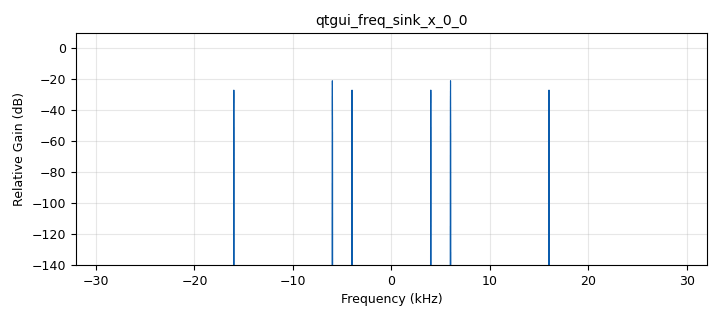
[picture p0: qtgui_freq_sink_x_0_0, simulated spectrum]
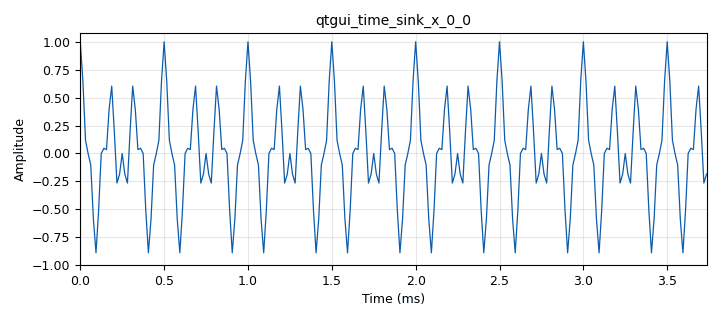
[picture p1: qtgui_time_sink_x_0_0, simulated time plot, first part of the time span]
options:
  parameters:
    author: ANDRES FLOREZ TARAZONA
    generate_options: qt_gui
    id: Practica1_parte3
    output_language: python
    title: Diezmado e Interpolado
  states: {}

blocks:
- name: N
  id: variable_qtgui_range
  parameters:
    label: multiplicador de samp_rate
    orient: Qt.Horizontal
    rangeType: int
    start: '1'
    step: '1'
    stop: '300'
    value: '2'
  states: {}
- name: samp_rate
  id: variable
  parameters:
    value: 32000*N
  states: {}
- name: analog_sig_source_x_0_0
  id: analog_sig_source_x
  parameters:
    amp: '1'
    freq: '6000'
    offset: '0'
    phase: '0'
    samp_rate: samp_rate
    type: float
    waveform: analog.GR_COS_WAVE
  states: {}
- name: analog_sig_source_x_1_0
  id: analog_sig_source_x
  parameters:
    amp: '1'
    freq: '5000'
    offset: '0'
    phase: '0'
    samp_rate: samp_rate
    type: float
    waveform: analog.GR_COS_WAVE
  states: {}
- name: analog_sig_source_x_2_0
  id: analog_sig_source_x
  parameters:
    amp: '1'
    freq: '5000'
    offset: '0'
    phase: '0'
    samp_rate: samp_rate
    type: float
    waveform: analog.GR_COS_WAVE
  states: {}
- name: blocks_multiply_xx_0_0
  id: blocks_multiply_xx
  parameters:
    num_inputs: '3'
    type: float
  states: {}
- name: qtgui_freq_sink_x_0_0
  id: qtgui_freq_sink_x
  parameters:
    bw: samp_rate
    fc: '0'
    fftsize: '8192'
    type: float
    wintype: firdes.WIN_BLACKMAN_hARRIS
  states: {}
- name: qtgui_time_sink_x_0_0
  id: qtgui_time_sink_x
  parameters:
    size: '1024'
    srate: samp_rate
    type: float
  states: {}

connections:
- [analog_sig_source_x_0_0, '0', blocks_multiply_xx_0_0, '0']
- [analog_sig_source_x_1_0, '0', blocks_multiply_xx_0_0, '1']
- [analog_sig_source_x_2_0, '0', blocks_multiply_xx_0_0, '2']
- [blocks_multiply_xx_0_0, '0', qtgui_freq_sink_x_0_0, '0']
- [blocks_multiply_xx_0_0, '0', qtgui_time_sink_x_0_0, '0']

metadata:
  file_format: 1
